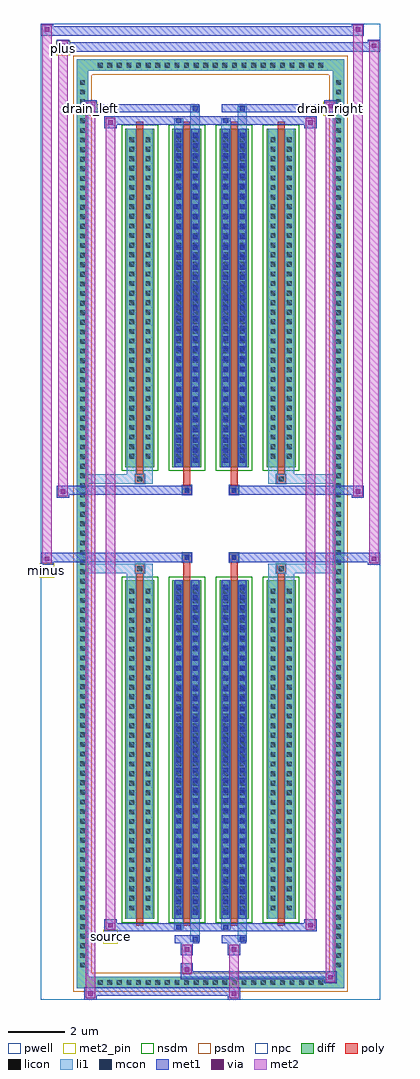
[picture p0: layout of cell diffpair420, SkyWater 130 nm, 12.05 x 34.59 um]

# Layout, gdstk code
import gdstk
lib = gdstk.Library(unit=1e-6, precision=5e-09)
def R(c, l, rs):  # rectangles x0, y0, x1, y1
    for r in rs: c.add(gdstk.rectangle(r[:2], r[2:], *l))
def A(c, l, x, y, w, h, nx, ny, dx, dy):  # array of equal rectangles
    R(c, l, [(x+i*dx, y+j*dy, x+i*dx+w, y+j*dy+h) for i in range(nx) for j in range(ny)])
def P(c, l, *ps):  # polygons
    for p in ps: c.add(gdstk.Polygon(p, *l))
pwell = (64, 44)
diff = (65, 20)
poly = (66, 20)
licon = (66, 44)
li1 = (67, 20)
mcon = (67, 44)
met1 = (68, 20)
via = (68, 44)
met2_pin = (69, 16)
met2 = (69, 20)
nsdm = (93, 44)
psdm = (94, 20)
npc = (95, 20)

diffpair420 = lib.new_cell('diffpair420')
R(diffpair420, pwell, [(-6.01,-16.86,6.01,17.73), (-3.33,-15.05,-0.01,-0.825), (0.01,-15.05,3.33,-0.825), (-3.33,0.825,-0.01,15.05), (0.01,0.825,3.33,15.05)])
A(diffpair420, diff, -4.115, -16.46, 0.41, 0.41, 24, 2, 0.34, 32.51)
A(diffpair420, diff, -4.74, -15.845, 0.41, 0.41, 1, 93, 0, 0.34)
A(diffpair420, diff, 4.33, -15.845, 0.41, 0.41, 1, 93, 0, 0.34)
A(diffpair420, diff, -3.02, -14.005, 1.03, 12, 4, 2, 1.67, 16.01)
R(diffpair420, diff, [(-4.115,-16.46,4.115,-16.05), (-4.74,-15.845,-4.33,15.845), (4.33,-15.845,4.74,15.845), (-4.115,16.05,4.115,16.46)])
P(diffpair420, diff, [(4.74,16.46),(-4.74,16.46),(-4.74,-16.05),(-4.33,-16.05),(-4.33,16.05),(4.33,16.05),(4.33,-16.05),(-4.33,-16.05),(-4.74,-16.05),(-4.74,-16.46),(4.74,-16.46)])
A(diffpair420, poly, -2.63, -14.255, 0.25, 12.5, 4, 2, 1.67, 16.01)
R(diffpair420, poly, [(-2.67,-1.755,-2.34,-1.425), (-2.67,-1.755,-2.34,-1.425), (-0.96,-1.755,-0.71,-1.355), (0.71,-1.755,0.96,-1.355), (2.34,-1.755,2.67,-1.425), (2.34,-1.755,2.67,-1.425), (-1,-1.355,-0.67,-1.025), (-1,-1.355,-0.67,-1.025), (0.67,-1.355,1,-1.025), (0.67,-1.355,1,-1.025), (-1,1.025,-0.67,1.355), (-1,1.025,-0.67,1.355), (0.67,1.025,1,1.355), (0.67,1.025,1,1.355), (-0.96,1.355,-0.71,1.755), (0.71,1.355,0.96,1.755), (-2.67,1.425,-2.34,1.755), (-2.67,1.425,-2.34,1.755), (2.34,1.425,2.67,1.755), (2.34,1.425,2.67,1.755)])
A(diffpair420, licon, -3.995, -16.34, 0.17, 0.17, 24, 2, 0.34, 32.51)
A(diffpair420, licon, -4.62, -15.725, 0.17, 0.17, 1, 93, 0, 0.34)
A(diffpair420, licon, 4.45, -15.725, 0.17, 0.17, 1, 93, 0, 0.34)
A(diffpair420, licon, -2.88, -13.7, 0.17, 0.17, 1, 34, 0, 0.34)
A(diffpair420, licon, -2.3, -13.7, 0.17, 0.17, 1, 34, 0, 0.34)
A(diffpair420, licon, -1.21, -13.7, 0.17, 0.17, 1, 34, 0, 0.34)
A(diffpair420, licon, -0.63, -13.7, 0.17, 0.17, 1, 34, 0, 0.34)
A(diffpair420, licon, 0.46, -13.7, 0.17, 0.17, 1, 34, 0, 0.34)
A(diffpair420, licon, 1.04, -13.7, 0.17, 0.17, 1, 34, 0, 0.34)
A(diffpair420, licon, 2.13, -13.7, 0.17, 0.17, 1, 34, 0, 0.34)
A(diffpair420, licon, 2.71, -13.7, 0.17, 0.17, 1, 34, 0, 0.34)
A(diffpair420, licon, -2.88, 2.31, 0.17, 0.17, 1, 34, 0, 0.34)
A(diffpair420, licon, -2.3, 2.31, 0.17, 0.17, 1, 34, 0, 0.34)
A(diffpair420, licon, -1.21, 2.31, 0.17, 0.17, 1, 34, 0, 0.34)
A(diffpair420, licon, -0.63, 2.31, 0.17, 0.17, 1, 34, 0, 0.34)
A(diffpair420, licon, 0.46, 2.31, 0.17, 0.17, 1, 34, 0, 0.34)
A(diffpair420, licon, 1.04, 2.31, 0.17, 0.17, 1, 34, 0, 0.34)
A(diffpair420, licon, 2.13, 2.31, 0.17, 0.17, 1, 34, 0, 0.34)
A(diffpair420, licon, 2.71, 2.31, 0.17, 0.17, 1, 34, 0, 0.34)
R(diffpair420, licon, [(-2.59,-1.675,-2.42,-1.505), (2.42,-1.675,2.59,-1.505), (-0.92,-1.275,-0.75,-1.105), (0.75,-1.275,0.92,-1.105), (-0.92,1.105,-0.75,1.275), (0.75,1.105,0.92,1.275), (-2.59,1.505,-2.42,1.675), (2.42,1.505,2.59,1.675)])
A(diffpair420, li1, -4.075, -16.42, 0.33, 0.33, 24, 2, 0.34, 32.51)
A(diffpair420, li1, -4.7, -15.805, 0.33, 0.33, 1, 93, 0, 0.34)
A(diffpair420, li1, 4.37, -15.805, 0.33, 0.33, 1, 93, 0, 0.34)
A(diffpair420, li1, -1.21, -13.85, 0.17, 0.17, 1, 33, 0, 0.36)
A(diffpair420, li1, -0.63, -13.85, 0.17, 0.17, 1, 33, 0, 0.36)
A(diffpair420, li1, 0.46, -13.85, 0.17, 0.17, 1, 33, 0, 0.36)
A(diffpair420, li1, 1.04, -13.85, 0.17, 0.17, 1, 33, 0, 0.36)
A(diffpair420, li1, -2.96, -13.78, 0.33, 0.33, 1, 34, 0, 0.34)
A(diffpair420, li1, -2.38, -13.78, 0.33, 0.33, 1, 34, 0, 0.34)
A(diffpair420, li1, -1.29, -13.78, 0.33, 0.33, 1, 34, 0, 0.34)
A(diffpair420, li1, -0.71, -13.78, 0.33, 0.33, 1, 34, 0, 0.34)
A(diffpair420, li1, 0.38, -13.78, 0.33, 0.33, 1, 34, 0, 0.34)
A(diffpair420, li1, 0.96, -13.78, 0.33, 0.33, 1, 34, 0, 0.34)
A(diffpair420, li1, 2.05, -13.78, 0.33, 0.33, 1, 34, 0, 0.34)
A(diffpair420, li1, 2.63, -13.78, 0.33, 0.33, 1, 34, 0, 0.34)
A(diffpair420, li1, -1.21, 2.16, 0.17, 0.17, 1, 33, 0, 0.36)
A(diffpair420, li1, -0.63, 2.16, 0.17, 0.17, 1, 33, 0, 0.36)
A(diffpair420, li1, 0.46, 2.16, 0.17, 0.17, 1, 33, 0, 0.36)
A(diffpair420, li1, 1.04, 2.16, 0.17, 0.17, 1, 33, 0, 0.36)
A(diffpair420, li1, -2.96, 2.23, 0.33, 0.33, 1, 34, 0, 0.34)
A(diffpair420, li1, -2.38, 2.23, 0.33, 0.33, 1, 34, 0, 0.34)
A(diffpair420, li1, -1.29, 2.23, 0.33, 0.33, 1, 34, 0, 0.34)
A(diffpair420, li1, -0.71, 2.23, 0.33, 0.33, 1, 34, 0, 0.34)
A(diffpair420, li1, 0.38, 2.23, 0.33, 0.33, 1, 34, 0, 0.34)
A(diffpair420, li1, 0.96, 2.23, 0.33, 0.33, 1, 34, 0, 0.34)
A(diffpair420, li1, 2.05, 2.23, 0.33, 0.33, 1, 34, 0, 0.34)
A(diffpair420, li1, 2.63, 2.23, 0.33, 0.33, 1, 34, 0, 0.34)
R(diffpair420, li1, [(-4.74,-16.46,-4.33,-16.05), (-4.74,-16.46,-4.33,-16.05), (-4.33,-16.46,4.33,-16.05), (4.33,-16.46,4.74,-16.05), (4.33,-16.46,4.74,-16.05), (-4.74,-16.05,-4.33,16.05), (4.33,-16.05,4.74,16.05), (-0.71,-14.81,-0.38,-14.005), (-0.63,-14.81,-0.46,-14.64), (0.96,-14.81,1.29,-14.005), (1.04,-14.81,1.21,-14.64), (-1.29,-14.38,-0.96,-14.005), (-1.21,-14.38,-1.04,-14.21), (0.38,-14.38,0.71,-14.005), (0.46,-14.38,0.63,-14.21), (-2.96,-14.005,-2.63,-2.005), (-2.38,-14.005,-2.05,-2.005), (-1.29,-14.005,-0.96,-2.005), (-0.71,-14.005,-0.38,-2.005), (0.38,-14.005,0.71,-2.005), (0.96,-14.005,1.29,-2.005), (2.05,-14.005,2.38,-2.005), (2.63,-14.005,2.96,-2.005), (-1.21,-13.85,-1.04,-2.16), (-0.63,-13.85,-0.46,-2.16), (0.46,-13.85,0.63,-2.16), (1.04,-13.85,1.21,-2.16), (-2.96,-2.005,-2.63,-1.425), (-2.38,-2.005,-2.05,-1.425), (2.05,-2.005,2.38,-1.425), (2.63,-2.005,2.96,-1.425), (-4.74,-1.755,-2.67,-1.425), (-2.96,-1.755,-2.67,-1.425), (-2.67,-1.755,-2.34,-1.425), (-2.34,-1.755,-2.05,-1.425), (2.05,-1.755,2.34,-1.425), (2.34,-1.755,2.67,-1.425), (2.34,-1.755,4.74,-1.425), (2.67,-1.755,2.96,-1.425), (-1,-1.355,-0.67,-1.025), (0.67,-1.355,1,-1.025), (-1,1.025,-0.67,1.355), (0.67,1.025,1,1.355), (-4.74,1.425,-2.67,1.755), (-2.96,1.425,-2.67,1.755), (-2.96,1.425,-2.63,2.005), (-2.67,1.425,-2.34,1.755), (-2.38,1.425,-2.05,2.005), (-2.34,1.425,-2.05,1.755), (2.05,1.425,2.34,1.755), (2.05,1.425,2.38,2.005), (2.34,1.425,2.67,1.755), (2.34,1.425,4.74,1.755), (2.63,1.425,2.96,2.005), (2.67,1.425,2.96,1.755), (-2.96,2.005,-2.63,14.005), (-2.38,2.005,-2.05,14.005), (-1.29,2.005,-0.96,14.005), (-0.71,2.005,-0.38,14.005), (0.38,2.005,0.71,14.005), (0.96,2.005,1.29,14.005), (2.05,2.005,2.38,14.005), (2.63,2.005,2.96,14.005), (-1.21,2.16,-1.04,13.85), (-0.63,2.16,-0.46,13.85), (0.46,2.16,0.63,13.85), (1.04,2.16,1.21,13.85), (-1.29,14.005,-0.96,14.38), (-0.71,14.005,-0.38,14.81), (0.38,14.005,0.71,14.38), (0.96,14.005,1.29,14.81), (-1.21,14.21,-1.04,14.38), (0.46,14.21,0.63,14.38), (-0.63,14.64,-0.46,14.81), (1.04,14.64,1.21,14.81), (-4.74,16.05,-4.33,16.46), (-4.74,16.05,-4.33,16.46), (-4.33,16.05,4.33,16.46), (4.33,16.05,4.74,16.46), (4.33,16.05,4.74,16.46)])
A(diffpair420, mcon, -1.21, -13.85, 0.17, 0.17, 1, 33, 0, 0.36)
A(diffpair420, mcon, -0.63, -13.85, 0.17, 0.17, 1, 33, 0, 0.36)
A(diffpair420, mcon, 0.46, -13.85, 0.17, 0.17, 1, 33, 0, 0.36)
A(diffpair420, mcon, 1.04, -13.85, 0.17, 0.17, 1, 33, 0, 0.36)
A(diffpair420, mcon, -1.21, 2.16, 0.17, 0.17, 1, 33, 0, 0.36)
A(diffpair420, mcon, -0.63, 2.16, 0.17, 0.17, 1, 33, 0, 0.36)
A(diffpair420, mcon, 0.46, 2.16, 0.17, 0.17, 1, 33, 0, 0.36)
A(diffpair420, mcon, 1.04, 2.16, 0.17, 0.17, 1, 33, 0, 0.36)
R(diffpair420, mcon, [(-0.63,-14.81,-0.46,-14.64), (1.04,-14.81,1.21,-14.64), (-1.21,-14.38,-1.04,-14.21), (0.46,-14.38,0.63,-14.21), (-0.92,-1.275,-0.75,-1.105), (0.75,-1.275,0.92,-1.105), (-0.92,1.105,-0.75,1.275), (0.75,1.105,0.92,1.275), (-1.21,14.21,-1.04,14.38), (0.46,14.21,0.63,14.38), (-0.63,14.64,-0.46,14.81), (1.04,14.64,1.21,14.81)])
A(diffpair420, met1, -1.27, -13.91, 0.29, 0.29, 1, 33, 0, 0.36)
A(diffpair420, met1, -0.69, -13.91, 0.29, 0.29, 1, 33, 0, 0.36)
A(diffpair420, met1, 0.4, -13.91, 0.29, 0.29, 1, 33, 0, 0.36)
A(diffpair420, met1, 0.98, -13.91, 0.29, 0.29, 1, 33, 0, 0.36)
A(diffpair420, met1, -1.27, 2.1, 0.29, 0.29, 1, 33, 0, 0.36)
A(diffpair420, met1, -0.69, 2.1, 0.29, 0.29, 1, 33, 0, 0.36)
A(diffpair420, met1, 0.4, 2.1, 0.29, 0.29, 1, 33, 0, 0.36)
A(diffpair420, met1, 0.98, 2.1, 0.29, 0.29, 1, 33, 0, 0.36)
R(diffpair420, met1, [(-4.47,-16.86,-4.04,-16.43), (0.62,-16.86,1.05,-16.43), (-4.47,-16.72,1.05,-16.43), (4.04,-16.29,4.47,-15.86), (-1.05,-16.15,4.47,-15.86), (-1.05,-16.01,-0.62,-15.58), (-1.05,-15.3,-0.62,-14.87), (0.62,-15.3,1.05,-14.87), (-1.27,-14.87,-0.4,-14.58), (-0.69,-14.87,-0.4,-14.58), (0.4,-14.87,1.27,-14.58), (0.98,-14.87,1.27,-14.58), (-3.76,-14.44,-3.33,-14.01), (-3.76,-14.44,-1.27,-14.15), (-1.27,-14.44,-0.98,-14.15), (-1.27,-14.44,-0.4,-14.15), (-0.4,-14.44,0.4,-14.15), (0.4,-14.44,0.69,-14.15), (0.4,-14.44,1.27,-14.15), (1.27,-14.44,3.76,-14.15), (3.33,-14.44,3.76,-14.01), (-1.27,-14.005,-0.98,-2.005), (-0.69,-14.005,-0.4,-2.005), (0.4,-14.005,0.69,-2.005), (0.98,-14.005,1.27,-2.005), (-6.01,-1.455,-5.58,-1.025), (5.58,-1.455,6.01,-1.025), (-6.01,-1.355,-0.67,-1.025), (-1,-1.355,-0.67,-1.025), (0.67,-1.355,1,-1.025), (0.67,-1.355,6.01,-1.025), (-0.98,-1.335,-0.69,-1.045), (0.69,-1.335,0.98,-1.045), (-5.44,0.925,-5.01,1.355), (5.01,0.925,5.44,1.355), (-5.44,1.025,-1,1.355), (-1,1.025,-0.67,1.355), (0.67,1.025,1,1.355), (1,1.025,5.44,1.355), (-0.98,1.045,-0.69,1.335), (0.69,1.045,0.98,1.335), (-1.27,2.005,-0.98,14.005), (-0.69,2.005,-0.4,14.005), (0.4,2.005,0.69,14.005), (0.98,2.005,1.27,14.005), (-3.76,14.01,-3.33,14.44), (3.33,14.01,3.76,14.44), (-3.76,14.15,-1.27,14.44), (-1.27,14.15,-0.98,14.44), (-1.27,14.15,-0.4,14.44), (-0.4,14.15,0.4,14.44), (0.4,14.15,0.69,14.44), (0.4,14.15,1.27,14.44), (1.27,14.15,3.76,14.44), (-4.47,14.58,-4.04,15.01), (-4.47,14.58,-1.27,14.87), (-1.27,14.58,-0.4,14.87), (-0.69,14.58,-0.4,14.87), (0.4,14.58,1.27,14.87), (0.98,14.58,1.27,14.87), (1.27,14.58,4.47,14.87), (4.04,14.58,4.47,15.01), (-5.44,16.73,-5.01,17.16), (-5.44,16.73,-3.33,17.06), (-3.33,16.73,3.33,17.06), (3.33,16.73,6.01,17.06), (5.58,16.73,6.01,17.16), (-6.01,17.3,-5.58,17.73), (-6.01,17.3,-3.33,17.63), (-3.33,17.3,3.33,17.63), (3.33,17.3,5.44,17.63), (5.01,17.3,5.44,17.73)])
R(diffpair420, via, [(-4.33,-16.72,-4.18,-16.57), (0.76,-16.72,0.91,-16.57), (4.18,-16.15,4.33,-16), (-0.91,-15.87,-0.76,-15.72), (-0.91,-15.16,-0.76,-15.01), (0.76,-15.16,0.91,-15.01), (-3.62,-14.3,-3.47,-14.15), (3.47,-14.3,3.62,-14.15), (-5.87,-1.315,-5.72,-1.165), (5.72,-1.315,5.87,-1.165), (-5.3,1.065,-5.15,1.215), (5.15,1.065,5.3,1.215), (-3.62,14.15,-3.47,14.3), (3.47,14.15,3.62,14.3), (-4.33,14.72,-4.18,14.87), (4.18,14.72,4.33,14.87), (-5.3,16.87,-5.15,17.02), (5.72,16.87,5.87,17.02), (-5.87,17.44,-5.72,17.59), (5.15,17.44,5.3,17.59)])
R(diffpair420, met2_pin, [(-3.795,-14.89,-3.295,-14.39), (-6.045,-1.905,-5.545,-1.405), (-4.505,14.46,-4.005,14.96), (4.005,14.46,4.505,14.96), (-5.475,16.61,-4.975,17.11)])
R(diffpair420, met2, [(-4.42,-16.81,-4.09,-16.48), (-4.42,-16.81,-4.09,14.96), (0.67,-16.81,1,-16.48), (0.67,-16.48,1,-15.25), (4.09,-16.24,4.42,-15.91), (4.09,-16.24,4.42,14.96), (-1,-15.96,-0.67,-15.63), (-1,-15.63,-0.67,-15.25), (-1,-15.25,-0.67,-14.92), (0.67,-15.25,1,-14.92), (-3.71,-14.39,-3.38,-14.06), (-3.71,-14.39,-3.38,14.39), (3.38,-14.39,3.71,-14.06), (3.38,-14.39,3.71,14.39), (-5.96,-1.405,-5.63,-1.075), (-5.96,-1.405,-5.63,17.68), (5.63,-1.405,5.96,-1.075), (5.63,-1.405,5.96,17.11), (-5.39,0.975,-5.06,1.305), (-5.39,0.975,-5.06,17.11), (5.06,0.975,5.39,1.305), (5.06,0.975,5.39,17.68), (-3.71,14.06,-3.38,14.39), (3.38,14.06,3.71,14.39), (-4.42,14.63,-4.09,14.96), (4.09,14.63,4.42,14.96), (-5.39,16.78,-5.06,17.11), (5.63,16.78,5.96,17.11), (-5.96,17.35,-5.63,17.68), (5.06,17.35,5.39,17.68)])
P(diffpair420, met2, [(5.96,-1.405),(5.96,-1.405),(5.96,-1.075),(5.96,-1.075)],
  [(5.96,16.78),(5.96,16.78),(5.96,17.11),(5.96,17.11)],
  [(-5.63,-1.405),(-5.63,-1.405),(-5.63,-1.075),(-5.63,-1.075)],
  [(-5.63,17.35),(-5.63,17.35),(-5.63,17.68),(-5.63,17.68)],
  [(5.39,0.975),(5.39,0.975),(5.39,1.305),(5.39,1.305)],
  [(5.39,17.35),(5.39,17.35),(5.39,17.68),(5.39,17.68)],
  [(-5.06,0.975),(-5.06,0.975),(-5.06,1.305),(-5.06,1.305)],
  [(-5.06,16.78),(-5.06,16.78),(-5.06,17.11),(-5.06,17.11)],
  [(-4.09,-16.81),(-4.09,-16.81),(-4.09,-16.48),(-4.09,-16.48)],
  [(-4.09,14.63),(-4.09,14.63),(-4.09,14.96),(-4.09,14.96)],
  [(4.42,-16.24),(4.42,-16.24),(4.42,-15.91),(4.42,-15.91)],
  [(4.42,14.63),(4.42,14.63),(4.42,14.96),(4.42,14.96)],
  [(-3.38,-14.39),(-3.38,-14.39),(-3.38,-14.06),(-3.38,-14.06)],
  [(-3.38,14.06),(-3.38,14.06),(-3.38,14.39),(-3.38,14.39)],
  [(3.71,-14.39),(3.71,-14.39),(3.71,-14.06),(3.71,-14.06)],
  [(3.71,14.06),(3.71,14.06),(3.71,14.39),(3.71,14.39)])
A(diffpair420, nsdm, -3.15, -14.135, 1.29, 12.26, 4, 2, 1.67, 16.01)
P(diffpair420, psdm, [(4.87,16.59),(-4.87,16.59),(-4.87,-15.92),(-4.2,-15.92),(-4.2,15.92),(4.2,15.92),(4.2,-15.92),(-4.2,-15.92),(-4.87,-15.92),(-4.87,-16.59),(4.87,-16.59)])
R(diffpair420, npc, [(-2.69,-1.775,-2.32,-1.405), (2.32,-1.775,2.69,-1.405), (-1.02,-1.375,-0.65,-1.005), (0.65,-1.375,1.02,-1.005), (-1.02,1.005,-0.65,1.375), (0.65,1.005,1.02,1.375), (-2.69,1.405,-2.32,1.775), (2.32,1.405,2.69,1.775)])
diffpair420.add(gdstk.Label('minus', (-5.795,-1.655), layer=69, texttype=5))
diffpair420.add(gdstk.Label('drain_right', (4.255,14.71), layer=69, texttype=5))
diffpair420.add(gdstk.Label('drain_left', (-4.255,14.71), layer=69, texttype=5))
diffpair420.add(gdstk.Label('source', (-3.545,-14.64), layer=69, texttype=5))
diffpair420.add(gdstk.Label('plus', (-5.225,16.86), layer=69, texttype=5))

lib.write_gds('diffpair420.gds')
